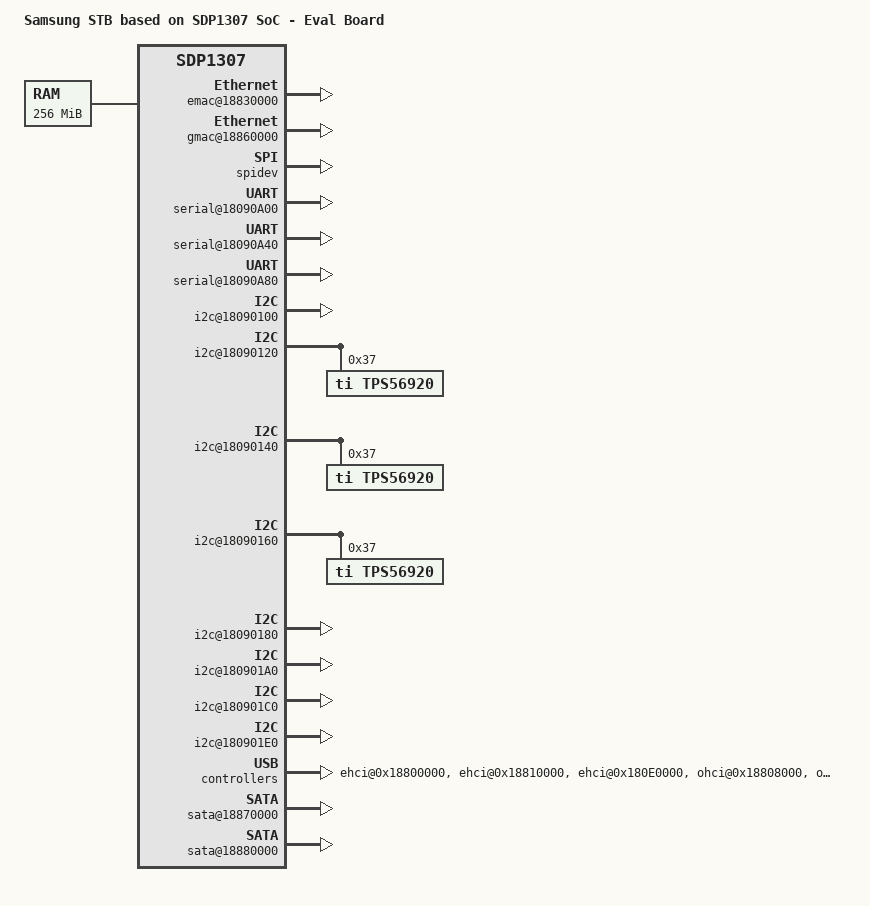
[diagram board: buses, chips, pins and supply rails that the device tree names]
/*
 * Copyright (C) 2013 Samsung Electronics Co.Ltd
 *
 * This program is free software; you can redistribute it and/or modify
 * it under the terms of the GNU General Public License version 2 as
 * published by the Free Software Foundation.
 */

/dts-v1/;
#include "sdp1307.dtsi"

/ {
	model = "Samsung STB based on SDP1307 SoC - Eval Board";
	compatible = "samsung,stb", "samsung,sdp1307";

	memory {
		device_type = "memory";
		reg = <0x80000000 0x08000000>, <0xc0000000 0x04000000>, <0xe0000000 0x04000000>;
	};

	chosen {
		bootargs = "console=ttyS2,115200N8 root=/dev/mmcblk0p3 rootfstype=squashfs rootwait earlyprintk sdp_sparsemem";
//		bootargs = "console=ttyS2,115200N8 root=/dev/ram0 initrd=0x80800000,8M rootwait earlyprintk sdp_sparsemem";
	};

	fixed-rate-clocks {
		fin {
			compatible = "samsung,sdp-clock-fin";
			clock-frequency = <24000000>;
		};
	};

	internal-micom@0x19200000 {
		compatible = "samsung,golfv-micom";
		reg = <0x19200c80 0x100>, <0x19240000 0x1000>;
		reg-names = "sram", "control";
	};

	emac@18830000 {/* EMAC */
		status = "okay";
	};

	gmac@18860000 {/* GMAC*/
		status = "okay";
	};

	gdma0@0x19060000 {
		status = "okay";
	};

	gdma1@0x19068000 {
		status = "okay";
	};

	sdif@0x180F0000 {
//		status = "okay";
	};

	ssp@0x19070000 {
		status = "okay";
		cs-gpios = <&gpio10 5 0>;/* o_SMC_ADDR[1] port (P10.5) Ctrl reg */

		spidev {
			#address-cells = <1>;
			#size-cells = <1>;
			compatible = "samsung,sdp-spidev";
			spi-max-frequency = <10000000>;
			reg = <0>;
		};
/*
		flash: w25x40@0 {
			#address-cells = <1>;
			#size-cells = <1>;
			compatible = "winbond,w25x40";
			spi-max-frequency = <10000000>;
			reg = <0>;

			partition@0 {
				label = "ucode";
				reg = <0x0 0x80000>;
			};
		};
*/
	};


	serial@18090A00 {
		status = "okay";
	};

	serial@18090A40 {
		status = "okay";
	};

	serial@18090A80 {
		status = "okay";
	};

	i2c@18090100 {
		status = "okay";
		samsung,i2c-sda-delay = <1>;
		samsung,i2c-max-bus-freq = <400000>;
		samsung,i2c-irq-status-reg = <0x180901F4>;
		samsung,i2c-cpu-affinity = <1>;
	};
	
	i2c@18090120 {
		status = "okay";
		samsung,i2c-sda-delay = <1>;
		samsung,i2c-max-bus-freq = <400000>;
		samsung,i2c-irq-status-reg = <0x180901F4>;
		samsung,i2c-cpu-affinity = <1>;
		
		tps56920@37 {
			compatible = "ti,tps56920";
			reg = <0x37>;

			regulator-name = "CPU_PW";
			regulator-min-microvolt = <600000>;
			regulator-max-microvolt = <1870000>;
			regulator-always-on;
			regulator-boot-on;

			default_volt = <1200000>;
		};
	};

	i2c@18090140 { 
		status = "okay";
		samsung,i2c-sda-delay = <1>;
		samsung,i2c-max-bus-freq = <400000>;
		samsung,i2c-irq-status-reg = <0x180901F4>;
		samsung,i2c-cpu-affinity = <1>;

		tps56920@37 {
			compatible = "ti,tps56920";
			reg = <0x37>;

			regulator-name = "GPU_PW";
			regulator-min-microvolt = <600000>;
			regulator-max-microvolt = <1870000>;
			regulator-always-on;
			regulator-boot-on;

			default_volt = <1200000>;
		};
	};

	i2c@18090160 {
		status = "okay";
		samsung,i2c-sda-delay = <1>;
		samsung,i2c-max-bus-freq = <400000>;
		samsung,i2c-irq-status-reg = <0x180901F4>;
		samsung,i2c-cpu-affinity = <1>;

		tps56920@37 {
			compatible = "ti,tps56920";
			reg = <0x37>;

			regulator-name = "CORE_PW";
			regulator-min-microvolt = <600000>;
			regulator-max-microvolt = <1870000>;
			regulator-always-on;
			regulator-boot-on;

			default_volt = <1100000>;
		};
	};

	i2c@18090180 {
		status = "okay";
		samsung,i2c-sda-delay = <1>;
		samsung,i2c-max-bus-freq = <400000>;
		samsung,i2c-irq-status-reg = <0x180901F4>;
		samsung,i2c-cpu-affinity = <1>;
	};

	i2c@180901A0 {
		status = "okay";
		samsung,i2c-sda-delay = <1>;
		samsung,i2c-max-bus-freq = <400000>;
		samsung,i2c-irq-status-reg = <0x180901F4>;
		samsung,i2c-cpu-affinity = <1>;
	};

	i2c@180901C0 {
		status = "okay";
		samsung,i2c-sda-delay = <1>;
		samsung,i2c-max-bus-freq = <400000>;
		samsung,i2c-irq-status-reg = <0x180901F4>;
	//	samsung,i2c-pad-enable = <0x10B00C40 0x8000>;
		samsung,i2c-cpu-affinity = <1>;
	};

	i2c@180901E0 {
		status = "okay";
		samsung,i2c-sda-delay = <1>;
		samsung,i2c-max-bus-freq = <400000>;
		samsung,i2c-irq-status-reg = <0x180901F4>;
	//	samsung,i2c-pad-enable = <0x10B00C40 0x10000>;
		samsung,i2c-cpu-affinity = <1>;

	};

/*
	dummy_panel {
		compatible = "dummy_panel";

		display-timings {
			native-mode = <&timing0>;

			timing0: timing-0 {
				 clock-frequency = <0>;
				 hactive = <1920>;
				 vactive = <1080>;
				 hfront-porch = <0>;
				 hback-porch = <0>;
				 hsync-len = <0>;
				 vfront-porch = <0>;
				 vback-porch = <0>;
				 vsync-len = <0>;
			};
		};
	};
*/
	ehci@0x18800000 {
		status = "okay";
		samsung,sw-reset = <0x18090000 0x8F4 0x1000>;
		samsung,ehci-gpr_reg1 = <0x18850000 0x18 0x002020>;
		samsung,ehci-link-set =  <0x18850000 0x1c 0x8e0000>;
		samsung,sw-reset-release = <0x18090000 0x8F4 0x1000>;
		samsung,vbus-enable = <0x18090000 0xC9C 0x3000 0x08>;
	};

	ehci@0x18810000 {
		status = "okay";
		samsung,sw-reset = <0x18090000 0x8F4 0x2000>;
		samsung,ehci-gpr_reg1 = <0x18850000 0x10 0x002020>;
		samsung,ehci-link-set =  <0x18850000 0x14 0x8e0000>;
		samsung,sw-reset-release = <0x18090000 0x8F4 0x2000>;
//		samsung,vbus-enable = <0x18090000 0xCA0 0x08>;
	};
	
	ehci@0x180E0000 {
		status = "okay";
		samsung,sw-reset = <0x18090000 0x8F4 0x4000>;
		samsung,ehci-gpr_reg1 = <0x180a0000 0x10 0x002020>;
		samsung,ehci-link-set = <0x180a0000 0x14 0x8e0000>;
		samsung,sw-reset-release = <0x18090000 0x8F4 0x4000>;
	};

	
	ohci@0x18808000 {
		status = "okay";
	};

	ohci@0x18818000 {
		status = "okay";
	};
	
	ohci@0x180E8000 {
		status = "okay";
	};

	sata@18870000 {
		status = "okay";
	};

	sata@18880000 {
		status = "okay";
	};
};
